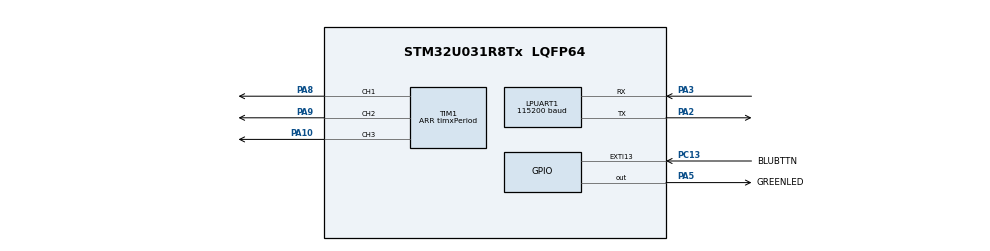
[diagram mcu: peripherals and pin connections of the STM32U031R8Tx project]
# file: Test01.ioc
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LPTIM1.Period=7999
LPUART1.BaudRate=115200
Mcu.Family=STM32U0
Mcu.Name=STM32U031R8Tx
Mcu.Package=LQFP64
NVIC.EXTI4_15_IRQn=true\:0\:0\:false\:false\:true\:true\:true\:true
NVIC.PriorityGroup=NVIC_PRIORITYGROUP_2
NVIC.TIM6_DAC_LPTIM1_IRQn=true\:0\:0\:false\:false\:true\:true\:true\:true
NVIC.USART3_LPUART1_IRQn=true\:0\:0\:false\:false\:true\:true\:true\:true
PA10.Signal=S_TIM1_CH3
PA2.Mode=Asynchronous
PA2.Signal=LPUART1_TX
PA3.Mode=Asynchronous
PA3.Signal=LPUART1_RX
PA5.GPIO_Label=GREENLED
PA5.GPIO_Speed=GPIO_SPEED_FREQ_LOW
PA5.Signal=GPIO_Output
PA8.Signal=S_TIM1_CH1
PA9.Signal=S_TIM1_CH2
PC13.GPIO_Label=BLUBTTN
PC13.GPIO_ModeDefaultEXTI=GPIO_MODE_IT_FALLING
PC13.GPIO_PuPd=GPIO_PULLUP
PC13.Signal=GPXTI13
ProjectManager.HeapSize=0x200
ProjectManager.StackSize=0x400
ProjectManager.TargetToolchain=STM32CubeIDE
RCC.ADCFreq_Value=8000000
RCC.AHBFreq_Value=8000000
RCC.CortexFreq_Value=8000000
RCC.HCLKFreq_Value=8000000
RCC.HSE_VALUE=4000000
RCC.HSI48_VALUE=48000000
RCC.HSI_VALUE=16000000
RCC.LPUART1CLockSelection=RCC_LPUART1CLKSOURCE_SYSCLK
RCC.LSE_VALUE=32768
RCC.MSIClockRangeVal=RCC_MSIRANGE_7
RCC.MSI_VALUE=8000000
RCC.PLLM=RCC_PLLM_DIV8
RCC.PLLN=16
RCC.PLLSourceVirtual=RCC_PLLSOURCE_MSI
RCC.SYSCLKFreq_VALUE=8000000
RCC.SYSCLKSource=RCC_SYSCLKSOURCE_MSI
RCC.VCOOutputFreq_Value=16000000
SH.S_TIM1_CH1.0=TIM1_CH1,PWM Generation1 CH1
SH.S_TIM1_CH2.0=TIM1_CH2,PWM Generation2 CH2
SH.S_TIM1_CH3.0=TIM1_CH3,PWM Generation3 CH3
TIM1.AutoReloadPreload=TIM_AUTORELOAD_PRELOAD_ENABLE
TIM1.Channel-PWM\ Generation1\ CH1=TIM_CHANNEL_1
TIM1.Channel-PWM\ Generation2\ CH2=TIM_CHANNEL_2
TIM1.Channel-PWM\ Generation3\ CH3=TIM_CHANNEL_3
TIM1.CounterMode=TIM_COUNTERMODE_UP
TIM1.Period=timxPeriod
TIM1.Prescaler=timxPrescaler
TIM1.Pulse-PWM\ Generation1\ CH1=((timxPeriod + 1 ) / 1)
TIM1.Pulse-PWM\ Generation2\ CH2=((timxPeriod + 1 ) / 2)
TIM1.Pulse-PWM\ Generation3\ CH3=((timxPeriod + 1 ) / 2)
TIM1.RepetitionCounter=0
VP_LPTIM1_VS_CH1.Mode=Channel_1_Active
VP_LPTIM1_VS_LPTIM_counterModeInternalClock.Mode=Counts__internal_clock_event_00
VP_LPTIM1_VS_noIO1.Mode=NoIO_Channel_1_Active
VP_PWR_VS_SECSignals.Mode=Security/Privilege
VP_TIM1_VS_ClockSourceINT.Mode=Internal
board=custom

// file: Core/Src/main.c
/* USER CODE BEGIN Header */
/**
  ******************************************************************************
  * @file           : main.c
  * @brief          : Main program body
  ******************************************************************************
  * @attention
  *
  * Copyright (c) 2025 STMicroelectronics.
  * All rights reserved.
  *
  * This software is licensed under terms that can be found in the LICENSE file
  * in the root directory of this software component.
  * If no LICENSE file comes with this software, it is provided AS-IS.
  *
  ******************************************************************************
  */
/* USER CODE END Header */
#include "main.h"
#include "lptim.h"
#include "usart.h"
#include "tim.h"
#include "gpio.h"

/* USER CODE BEGIN Includes */
#include <stdio.h>
#include <string.h>
/* USER CODE END Includes */

/* USER CODE BEGIN PD */
volatile uint8_t PressBttn;
__IO uint8_t      ubFinalCharReceived = 0;
__IO uint32_t     ubReceivedChar;
__IO uint32_t     sTime;

uint32_t TimOutClock = 1;
uint32_t timxPrescaler = 0;
uint32_t timxPeriod = 0;

int R,G,B;
int RGB;
#define SUM_RGB		(R+G+B)

uint8_t CommBuf[100];

int tx_pointer;
int tx_lenbuf;

/* USER CODE END PD */

void SystemClock_Config(void);
/* USER CODE BEGIN PFP */
__STATIC_INLINE void Configure_DutyCycle2(uint8_t chan, uint32_t D);
__STATIC_INLINE void Configure_DutyCycle(uint32_t D);
/* USER CODE END PFP */

/* USER CODE BEGIN 0 */
static uint32_t n;
/* USER CODE END 0 */

int main(void)
{

  /* USER CODE BEGIN 1 */
	sTime = 0;
	R = 0; G = 0; B = 0;
	RGB = SUM_RGB;
	memset(CommBuf, 0, sizeof(CommBuf));
  /* USER CODE END 1 */

  /* MCU Configuration--------------------------------------------------------*/

  /* Reset of all peripherals, Initializes the Flash interface and the Systick. */
  HAL_Init();

  /* Configure the system clock */
  SystemClock_Config();

  /* USER CODE BEGIN SysInit */
  PressBttn = 0;
  n = 20 * 1000;		//freq finale
//  n = 100;
  int p = 500 * 1000;

  TimOutClock = SystemCoreClock/1;
  timxPrescaler = __LL_TIM_CALC_PSC(SystemCoreClock, p);
  timxPeriod = __LL_TIM_CALC_ARR(TimOutClock, timxPrescaler, n);
  /* USER CODE END SysInit */

  /* Initialize all configured peripherals */
  MX_GPIO_Init();
  MX_LPUART1_UART_Init();
  MX_TIM1_Init();
  MX_LPTIM1_Init();
  /* USER CODE BEGIN 2 */

  /* Enable the capture/compare interrupt for channel 1 */
  LL_TIM_EnableIT_CC1(TIM1);

  /* Enable output channel 1 */
  LL_TIM_CC_EnableChannel(TIM1, LL_TIM_CHANNEL_CH1);
  LL_TIM_CC_EnableChannel(TIM1, LL_TIM_CHANNEL_CH2);
  LL_TIM_CC_EnableChannel(TIM1, LL_TIM_CHANNEL_CH3);

  /* Enable counter */
  LL_TIM_EnableCounter(TIM1);

  LL_TIM_EnableAllOutputs(TIM1);

  //Configure_DutyCycle(50);
  Configure_DutyCycle2(1, 50);
  Configure_DutyCycle2(2, 25);
  Configure_DutyCycle2(3, 75);

  /* Force update generation */
  LL_TIM_GenerateEvent_UPDATE(TIM1);

  /* USER CODE END 2 */

  /* Infinite loop */
  /* USER CODE BEGIN WHILE */
  int temp_rgb = SUM_RGB;
  while (1)
  {
    /* USER CODE END WHILE */

    /* USER CODE BEGIN 3 */
	  //for(n = 0; n < 100000UL; n++)
//	  HAL_Delay(200);
	  LL_mDelay(200);
//	  HAL_GPIO_TogglePin(GREENLED_GPIO_Port, GREENLED_Pin);
	  LL_GPIO_TogglePin(GREENLED_GPIO_Port, GREENLED_Pin);

	  if (temp_rgb != SUM_RGB)
	  {
		  Configure_DutyCycle2(1, R);
		  Configure_DutyCycle2(2, G);
		  Configure_DutyCycle2(3, B);
		  temp_rgb = SUM_RGB;
	  }

	  if (PressBttn)
	  {
		  PressBttn = 0;
	  }
  }
  /* USER CODE END 3 */
}

void SystemClock_Config(void)
{
  LL_FLASH_SetLatency(LL_FLASH_LATENCY_0);
  while(LL_FLASH_GetLatency() != LL_FLASH_LATENCY_0)
  {
  }

  LL_PWR_SetRegulVoltageScaling(LL_PWR_REGU_VOLTAGE_SCALE2);
  while (LL_PWR_IsActiveFlag_VOS() != 0)
  {
  }
  LL_RCC_MSI_Enable();

   /* Wait till MSI is ready */
  while(LL_RCC_MSI_IsReady() != 1)
  {
  }

  LL_RCC_MSI_EnableRangeSelection();
  LL_RCC_MSI_SetRange(LL_RCC_MSIRANGE_7);
  LL_RCC_SetSysClkSource(LL_RCC_SYS_CLKSOURCE_MSI);

   /* Wait till System clock is ready */
  while(LL_RCC_GetSysClkSource() != LL_RCC_SYS_CLKSOURCE_STATUS_MSI)
  {
  }

  LL_RCC_SetAHBPrescaler(LL_RCC_SYSCLK_DIV_1);
  LL_RCC_SetAPB1Prescaler(LL_RCC_APB1_DIV_1);
  LL_SetSystemCoreClock(8000000);

   /* Update the time base */
  if (HAL_InitTick (TICK_INT_PRIORITY) != HAL_OK)
  {
    Error_Handler();
  }
}

/* USER CODE BEGIN 4 */

__STATIC_INLINE void Configure_DutyCycle(uint32_t D)
{
  uint32_t P;    /* Pulse duration */
  uint32_t T;    /* PWM signal period */

  /* PWM signal period is determined by the value of the auto-reload register */
  T = LL_TIM_GetAutoReload(TIM1) + 1;

  /* Pulse duration is determined by the value of the compare register.       */
  /* Its value is calculated in order to match the requested duty cycle.      */
  P = (D*T)/100;
  LL_TIM_OC_SetCompareCH1(TIM1, P);
}

__STATIC_INLINE void Configure_DutyCycle2(uint8_t chan, uint32_t D)
{
  uint32_t P = 0;    /* Pulse duration */
  uint32_t T = 0;    /* PWM signal period */

  /* PWM signal period is determined by the value of the auto-reload register */
  T = LL_TIM_GetAutoReload(TIM1) + 1;

  /* Pulse duration is determined by the value of the compare register.       */
  /* Its value is calculated in order to match the requested duty cycle.      */
  P = (D*T)/100;
  switch (chan)
  {
	  default:
	  case 1:	LL_TIM_OC_SetCompareCH1(TIM1, P);	break;
	  case 2:	LL_TIM_OC_SetCompareCH2(TIM1, P);	break;
	  case 3:	LL_TIM_OC_SetCompareCH3(TIM1, P);	break;
  }
}

void LPUART_CharReception_Callback(void)
{
  /* Read Received character. RXNE flag is cleared by reading of RDR register */
  ubReceivedChar = LL_LPUART_ReceiveData8(LPUART1);
//  LL_LPUART_IsEnabledIT_RXNE_RXFNE

  /* Check if received value is corresponding to specific one : S or s */
  if ((ubReceivedChar == 'S') || (ubReceivedChar == 's'))
  {
    /* Turn LED4 On : Expected character has been received */
    //LED_On();

    /* End of program : set boolean for main loop exit */
    ubFinalCharReceived = 1;

    //scrivo i tre valori!
    sprintf((char*)CommBuf, "Rx= %d; G = %d, B = %d\n", R, G, B);
    tx_pointer = 0;
    tx_lenbuf = strlen((char*)&CommBuf);
    LL_LPUART_DisableIT_TC(LPUART1);
    LL_LPUART_DisableIT_RXNE_RXFNE(LPUART1);
    LL_LPUART_TransmitData8(LPUART1, CommBuf[tx_pointer++]);
    LL_LPUART_EnableIT_TXE(LPUART1);

    return;
  }

  switch (ubReceivedChar)
  {
	  case 'R':		R += 2; break;
	  case 'r':		R -= 2; break;
	  case 'G':		G += 2; break;
	  case 'g':		G -= 2; break;
	  case 'B':		B += 2;	break;
	  case 'b': 	B -= 2; break;

	  default : break;

  }

  if (R > 100)
	  R = 100;
  if (R < 0)
	  R = 0;

  if (G > 100)
	  G = 100;
  if (G < 0)
	  G = 0;

  if (B > 100)
  	  B = 100;
    if (B < 0)
  	  B = 0;

  /* Echo received character on TX */
  LL_LPUART_TransmitData8(LPUART1, ubReceivedChar);

}
/* USER CODE END 4 */

void Error_Handler(void)
{
  __disable_irq();
  while (1)
  {
  }
}
